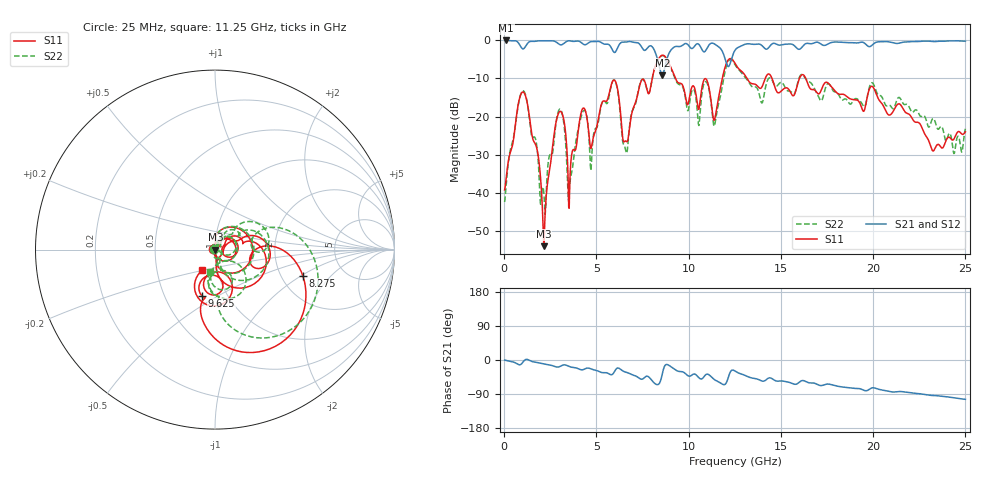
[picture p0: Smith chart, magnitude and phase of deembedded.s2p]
! RG_s4_pwr_n4_cap2: 3D, de-embedded (matched 2x-thru)
# Hz S RI R 50
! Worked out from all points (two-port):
!   1000 points, 25 MHz to 25 GHz, reference 50 ohm
!   highest |S21| = -0.07 dB at 100 MHz (marker M1); lowest = -9.2 dB at 8.575 GHz (marker M2)
!   |S21| within 3 dB of the highest: start of sweep to 5.935 GHz; 12.46 GHz to end of sweep (the widest 2 of 4)
!   lowest |S11| = -53.9 dB at 2.15 GHz (marker M3), VSWR 1.00, Z = 50.2 - j0.0823 ohm
!   |S11| at or under -10 dB: start of sweep to 8.026 GHz; 9.287 GHz to 11.82 GHz (2.537 GHz wide, 24 % of centre); 16.35 GHz to end of sweep (the widest 3 of 5)
!   |S22| runs from -45.6 to -4.1 dB; largest |S21 - S12| = 0.016
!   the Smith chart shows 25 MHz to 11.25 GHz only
!   S11 on the Smith chart (normalised r, x): 25 MHz: 0.98, +0.01; 8.275 GHz: 2.61, -1.06; 9.625 GHz: 0.76, -0.42; 11.25 GHz: 0.85, -0.20
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2.5e7  -0.0107 0.00261  0.9915 -0.00444  0.991 -0.00445  -0.00745 0.00172
1e8  -0.0102 0.0108  0.9917 -0.0184  0.9909 -0.0181  -0.00877 0.00787
1.05e9  0.2045 -0.0419  0.7707 -0.0497  0.7648 -0.0526  0.2145 -0.0321
2.15e9  0.00185 -0.00082  0.9647 -0.1763  0.9609 -0.1662  0.00299 -0.00963
2.925e9  0.0984 0.0439  0.8574 -0.2882  0.8544 -0.2998  0.0948 0.065
3.55e9  0.00941 0.00675  0.9343 -0.2956  0.9239 -0.2898  0.0113 0.00543
4.2e9  0.105 0.0555  0.8285 -0.4028  0.8386 -0.3976  0.0776 0.0711
4.725e9  0.0391 0.00409  0.8767 -0.3858  0.8873 -0.3865  0.0175 0.0154
5.975e9  0.2601 -0.1506  0.5916 -0.3565  0.585 -0.3516  0.2928 -0.0681
6.6e9  0.0445 -0.0173  0.8004 -0.5004  0.806 -0.4964  0.0349 -0.00232
8.275e9  0.4904 -0.1492  0.2576 -0.5482  0.2541 -0.5503  0.5124 0.0218
8.35e9  0.5064 -0.2344  0.2245 -0.4709  0.2209 -0.4691  0.5553 -0.058
8.575e9  0.3952 -0.4988  0.2812 -0.2052  0.2846 -0.2064  0.5241 -0.344
9.625e9  -0.0728 -0.2574  0.7264 -0.4314  0.7255 -0.4341  -0.000266 -0.2545
1.125e10  -0.0711 -0.1158  0.6416 -0.6529  0.6423 -0.6492  -0.0297 -0.1249
1.2e10  0.2203 -0.4077  0.2464 -0.4852  0.2437 -0.4887  0.3544 -0.2168
1.2525e10  -0.2314 -0.4354  0.6482 -0.3668  0.6434 -0.3684  -0.0371 -0.4719
1.395e10  -0.1263 -0.2039  0.4918 -0.7063  0.4862 -0.7097  -0.0459 -0.1451
1.6675e10  -0.1938 -0.1171  0.4428 -0.7838  0.4509 -0.7874  -0.1956 -0.1829
2.085e10  -0.0982 -0.0377  0.1161 -0.9436  0.1166 -0.9351  -0.0751 -0.1196
2.325e10  -0.0301 0.0188  -0.0638 -0.9578  -0.0575 -0.9518  -0.0313 -0.0892
2.5e10  0.0436 0.0456  -0.2314 -0.9446  -0.2447 -0.9351  0.0525 -0.0454
